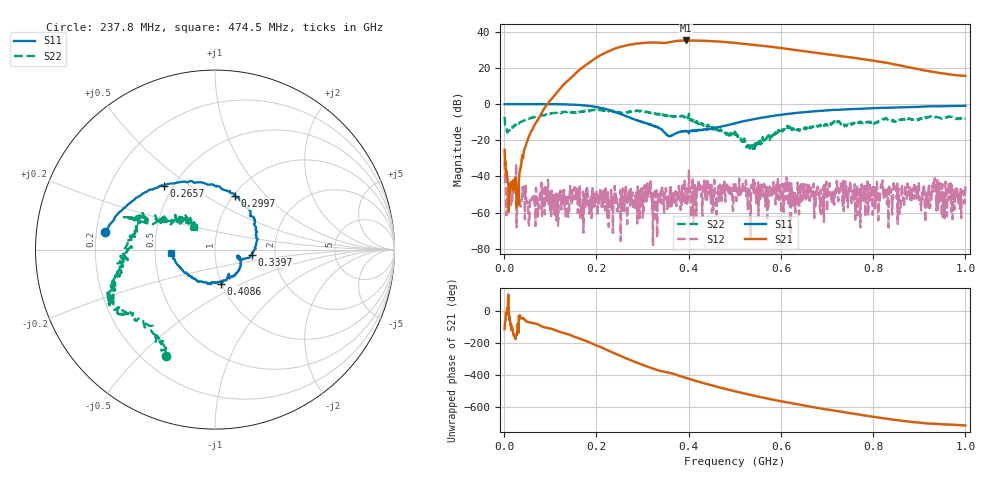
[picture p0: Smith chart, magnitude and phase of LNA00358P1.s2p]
! Created with skrf 1.9.0 (http://scikit-rf.org).
# Hz S RI R 50.0
!freq ReS11 ImS11 ReS21 ImS21 ReS12 ImS12 ReS22 ImS22
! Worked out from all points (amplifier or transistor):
!   1001 points, 1 MHz to 1 GHz, reference 50 ohm
!   highest |S21| = 35.2 dB at 394.6 MHz (marker M1)
!   |S21| within 3 dB of that: 260.5 MHz to 561 MHz (300.5 MHz wide, 73.2 % of centre)
!   unconditionally stable (mu >= 1): 2.595 MHz to 74.83 MHz; 310.7 MHz to 400.3 MHz; 400.9 MHz to end of sweep (the widest 3 of 35)
!   at 166.8 MHz: K = 2.95, MAG = 30.0 dB, |S12| = -55.4 dB
!   at 500.5 MHz: K = 1.53, MAG = 34.3 dB, |S12| = -43.3 dB
!   at 1 GHz: K = 2.29, MAG = 24.2 dB, |S12| = -45.5 dB
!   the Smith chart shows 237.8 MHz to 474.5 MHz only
!   S11 on the Smith chart (normalised r, x): 237.8 MHz: 0.24, +0.08; 265.7 MHz: 0.45, +0.40; 299.7 MHz: 1.02, +0.68; 339.7 MHz: 1.51, -0.09; 408.6 MHz: 1.00, -0.39; 474.5 MHz: 0.61, -0.03
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1000000  0.9946 0.0153  -0.0215 -0.05  -0.0249 -0.00589  0.2867 0.3407
1.08892e8  0.512 -0.8525  -0.7885 -1.523  0.000134 0.00079  0.4387 -0.3618
1.67833e8  -0.2515 -0.8976  -9.826 -0.6646  0.000848 0.000979  0.0722 -0.6242
2.07793e8  -0.6806 -0.4018  -15.92 15.23  0.00346 -0.00124  -0.1699 -0.657
2.37763e8  -0.6115 0.0981  -4.445 33.07  0.00192 -0.00141  -0.2749 -0.59
2.65735e8  -0.2836 0.3566  19.13 37.23  -0.00168 -0.00285  -0.4485 -0.3929
2.99701e8  0.1103 0.298  44.66 19.96  -0.00186 -0.000391  -0.5645 -0.27
3.17683e8  0.2227 0.1656  50.02 4.402  -0.00477 0.00558  -0.5543 -0.1453
3.34666e8  0.2264 0.00489  48.91 -9.552  -0.000267 0.00321  -0.5104 -0.0707
3.39661e8  0.2043 -0.0277  47.64 -12.58  -0.00292 0.00249  -0.4968 -0.0401
3.68632e8  0.1408 -0.0468  45.11 -30.7  -0.00297 0.00166  -0.4356 0.1332
3.94606e8  0.1011 -0.1505  29.76 -49.12  0.000852 0.00463  -0.3982 0.1892
4.08592e8  0.0352 -0.1889  18.47 -54.21  0.00168 0.00915  -0.2733 0.1896
4.39561e8  -0.12 -0.1614  -6.366 -55.35  0.000296 0.00226  -0.1722 0.1659
4.74526e8  -0.2436 -0.0205  -29.02 -43.7  0.00459 0.00208  -0.1143 0.1275
5.005e8  -0.2632 0.1222  -38.97 -30.34  -0.000958 -0.00679  -0.1483 0.0894
5.39461e8  -0.1972 0.3215  -42.66 -9.055  0.002 -0.00455  -0.0569 -0.008
5.85415e8  -0.00619 0.4763  -35.99 10.4  0.00419 -0.0029  -0.1273 -0.0645
6.67333e8  0.3819 0.4954  -13.42 23.53  0.00193 -0.00367  -0.2247 -0.046
7.53247e8  0.662 0.2977  3.51 19.05  -0.0013 -0.00128  -0.2846 0.0361
8.34166e8  0.7926 0.044  9.629 9.404  -0.006 0.000798  -0.3761 0.0419
1e9  0.745 -0.5041  6.016 0.4303  -0.00355 0.00393  -0.2044 0.3449
